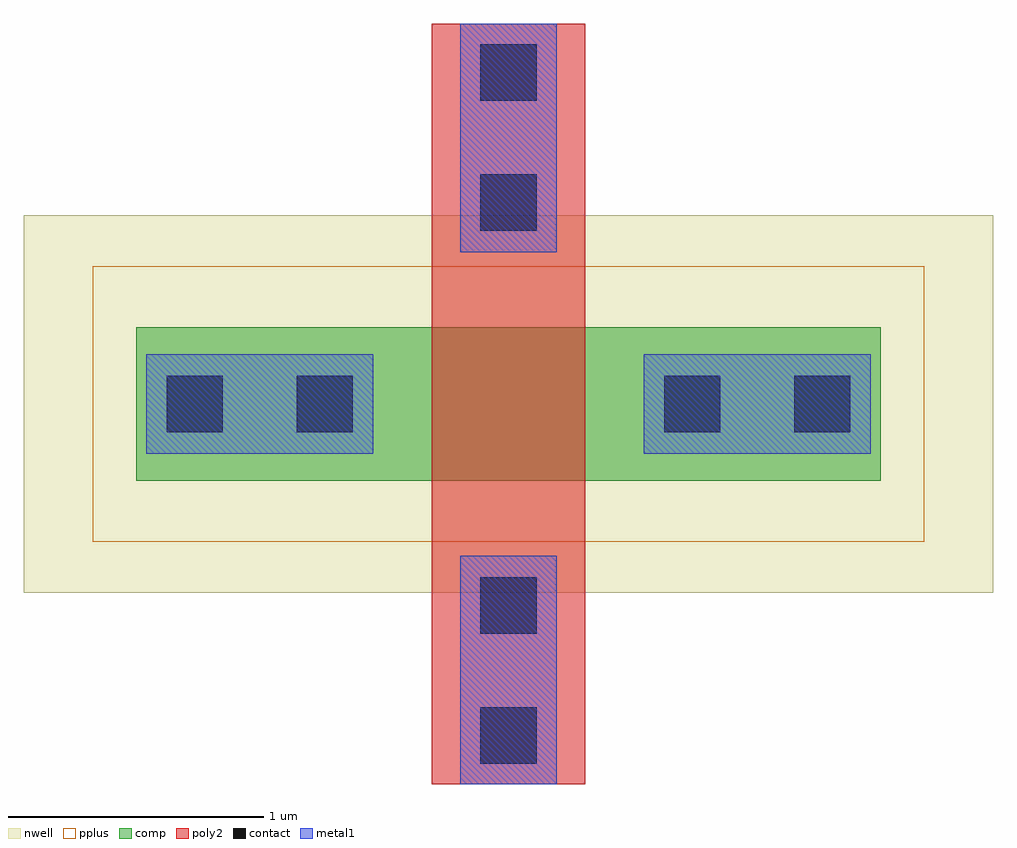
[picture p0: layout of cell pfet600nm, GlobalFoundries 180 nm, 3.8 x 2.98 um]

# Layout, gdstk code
import gdstk
lib = gdstk.Library(unit=1e-6, precision=1e-09)
def R(c, l, rs):  # rectangles x0, y0, x1, y1
    for r in rs: c.add(gdstk.rectangle(r[:2], r[2:], *l))
nwell = (21, 0)
comp = (22, 0)
poly2 = (30, 0)
pplus = (31, 0)
contact = (33, 0)
metal1 = (34, 0)

cell1 = lib.new_cell('cell1')

pfet = lib.new_cell('pfet')
R(pfet, nwell, [(-0.9,-0.44,1.88,1.04)])
R(pfet, comp, [(-0.46,0,0,0.6), (0,0,0.98,0.6), (0.98,0,1.44,0.6)])
R(pfet, poly2, [(0.19,-0.68,0.79,-0.3), (0.19,-0.3,0.79,0.9), (0.19,0.9,0.79,1.28)])
R(pfet, pplus, [(-0.63,-0.24,1.61,0.84)])
R(pfet, contact, [(0.38,-0.6,0.6,-0.38), (-0.34,0.19,-0.12,0.41), (1.1,0.19,1.32,0.41), (0.38,0.98,0.6,1.2)])
R(pfet, metal1, [(0.3,-0.681,0.68,-0.299), (-0.42,0.109,-0.04,0.491), (1.02,0.109,1.4,0.491), (0.3,0.899,0.68,1.281)])

pfet600nm = lib.new_cell('pfet600nm')
R(pfet600nm, nwell, [(-17.18,5.88,-13.38,7.36)])
R(pfet600nm, comp, [(-16.74,6.32,-16.23,6.92), (-14.33,6.32,-13.82,6.92)])
R(pfet600nm, poly2, [(-15.58,5.13,-14.98,5.64), (-15.58,7.6,-14.98,8.11)])
R(pfet600nm, pplus, [(-16.91,6.08,-13.65,7.16)])
R(pfet600nm, contact, [(-15.39,5.21,-15.17,5.43), (-16.62,6.51,-16.4,6.73), (-14.16,6.51,-13.94,6.73), (-15.39,7.81,-15.17,8.03)])
R(pfet600nm, metal1, [(-15.47,5.13,-15.09,6.025), (-16.7,6.425,-15.81,6.815), (-14.75,6.425,-13.86,6.815), (-15.47,7.215,-15.09,8.11)])
pfet600nm.add(gdstk.Reference(cell1, (-17.165,1.105)))
pfet600nm.add(gdstk.Reference(pfet, (-15.77,6.32)))

lib.write_gds('pfet600nm.gds')
